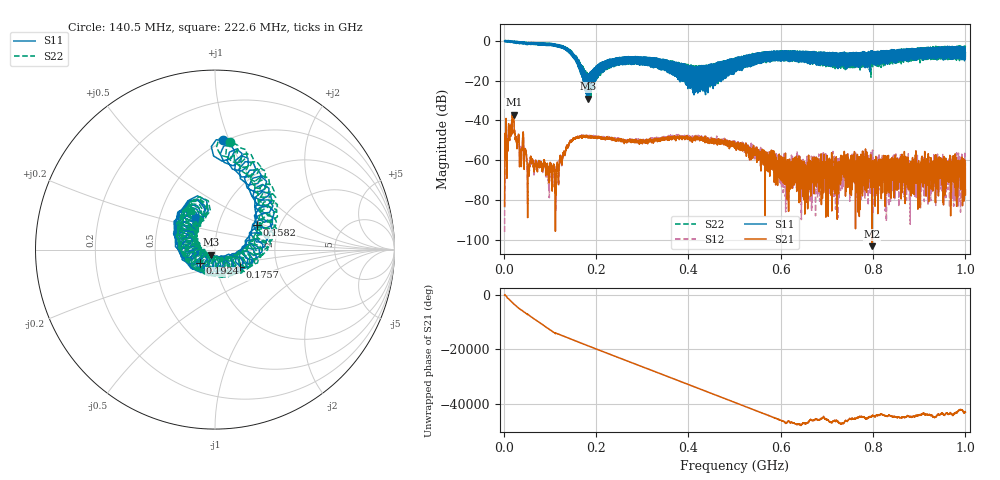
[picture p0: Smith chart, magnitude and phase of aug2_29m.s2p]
!Keysight Technologies N9923A: A.12.45
!Date: Saturday, 02 August 2025 19:18:06
!Timezone: (UTC+08:00) Kuala Lumpur, Singapore
!Model: N9923A
!Serial: MY61181427
!GPS Latitude:
!GPS Longitude:
!GPS TimeStamp: 0001-01-01 00:00:00Z
!GPS Seconds Since Last Read: 0
!CHECKSUM:1881408844
!Correction: S11(ON U)S21(ON U)S12(ON U)S22(ON U)
!S2P File: Measurements:S11,S21,S12,S22:
# Hz S DB R 50
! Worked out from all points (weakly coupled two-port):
!   4001 points, 2 MHz to 1 GHz, reference 50 ohm
!   highest |S21| = -37.06 dB at 21.71 MHz (marker M1); lowest = -103.0 dB at 797.9 MHz (marker M2)
!   lowest |S11| = -29.0 dB at 182.9 MHz (marker M3), VSWR 1.07, Z = 47.7 - j2.62 ohm
!   |S11| at or under -10 dB: 162.2 MHz to 223.5 MHz (61.27 MHz wide, 31.8 % of centre); 223.7 MHz to 225.1 MHz (1.348 MHz wide, 0.6 % of centre); 354.4 MHz to 483 MHz (128.6 MHz wide, 30.7 % of centre) (the widest 3 of 290)
!   |S22| runs from -28.8 to 0.1 dB; largest |S21 - S12| = 0.0023
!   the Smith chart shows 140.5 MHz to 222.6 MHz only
!   S11 on the Smith chart (normalised r, x): 140.5 MHz: 0.49, +0.95; 158.2 MHz: 1.53, +0.45; 175.7 MHz: 1.30, -0.26; 192.4 MHz: 0.83, -0.13; 222.6 MHz: 0.75, +0.28
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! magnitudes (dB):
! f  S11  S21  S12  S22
! 2 MHz  -0.1  -82.9  -95.9  -0.1
! 7.739 MHz  -0.4  -50.8  -50.5  -0.7
! 21.71 MHz  -0.4  -37.1  -37.4  -0.5
! 53.65 MHz  -1.0  -66.5  -66.5  -0.8
! 108.8 MHz  -1.6  -62.3  -62.5  -1.7
! 140.5 MHz  -4.3  -52.8  -51.9  -4.4
! 158.2 MHz  -11.3  -48.4  -48.4  -10.7
! 168.4 MHz  -15.0  -48.1  -47.9  -15.7
! 175.7 MHz  -15.4  -48.3  -47.7  -14.6
! 182.9 MHz  -29.0  -48.6  -48.2  -24.6
! 192.4 MHz  -18.9  -48.2  -47.7  -16.2
! 222.6 MHz  -13.4  -48.9  -49.1  -11.9
! 334.8 MHz  -11.9  -49.3  -49.3  -9.6
! 417.2 MHz  -25.2  -48.9  -47.6  -15.9
! 501 MHz  -12.0  -52.7  -53.8  -13.8
! 614.5 MHz  -9.0  -60.7  -64.0  -5.1
! 667.4 MHz  -6.2  -60.9  -58.4  -10.6
! 743.3 MHz  -6.4  -61.7  -58.1  -13.9
! 797.9 MHz  -11.4  -103.0  -67.8  -5.4
! 833.8 MHz  -6.1  -59.9  -64.0  -8.1
! 991.8 MHz  -4.3  -65.0  -59.9  -4.3
! 1 GHz  -6.0  -77.4  -60.9  -2.9
